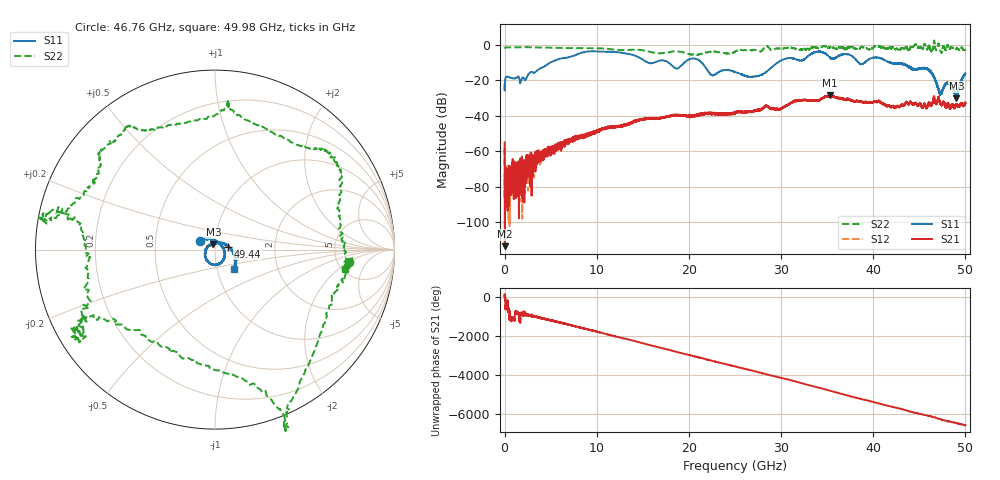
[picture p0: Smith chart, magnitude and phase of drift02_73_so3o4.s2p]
!Created with skrf (http://scikit-rf.org).
# Hz S RI R 50.0
!freq ReS11 ImS11 ReS21 ImS21 ReS12 ImS12 ReS22 ImS22
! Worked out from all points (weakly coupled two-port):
!   10001 points, 300 kHz to 50 GHz, reference 50 ohm
!   highest |S21| = -28.55 dB at 35.32 GHz (marker M1); lowest = -113.4 dB at 25.3 MHz (marker M2)
!   lowest |S11| = -30.1 dB at 49.02 GHz (marker M3), VSWR 1.06, Z = 49 + j2.94 ohm
!   |S11| at or under -10 dB: start of sweep to 4.954 GHz; 21.38 GHz to 29.63 GHz (8.25 GHz wide, 32.3 % of centre); 41.94 GHz to end of sweep (the widest 3 of 9)
!   |S22| runs from -5.7 to 2.5 dB; largest |S21 - S12| = 0.0036
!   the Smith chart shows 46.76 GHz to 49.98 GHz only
!   S11 on the Smith chart (normalised r, x): 46.76 GHz: 0.84, +0.08; 49.44 GHz: 1.15, +0.04; 49.98 GHz: 1.20, -0.27
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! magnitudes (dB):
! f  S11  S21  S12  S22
! 300 kHz  -22.3  -55.0  -58.2  -2.1
! 25.3 MHz  -23.1  -113.4  -75.4  -1.9
! 265.3 MHz  -17.9  -72.8  -70.0  -1.4
! 1.87 GHz  -19.1  -67.7  -75.4  -1.3
! 8.335 GHz  -4.5  -51.1  -51.8  -1.9
! 16.67 GHz  -9.1  -41.5  -41.3  -4.7
! 18.7 GHz  -13.4  -39.5  -39.6  -3.7
! 20.6 GHz  -7.7  -39.9  -39.7  -5.7
! 22.52 GHz  -17.0  -38.6  -38.7  -3.7
! 25 GHz  -15.3  -38.7  -38.3  -3.8
! 27.5 GHz  -17.6  -36.6  -36.7  -3.2
! 33.34 GHz  -4.9  -31.4  -31.4  -1.6
! 35.32 GHz  -7.1  -28.5  -28.7  -1.3
! 41.67 GHz  -9.7  -33.9  -34.3  -1.8
! 45.78 GHz  -13.4  -35.7  -35.6  -1.9
! 46.76 GHz  -20.1  -32.8  -33.2  -2.5
! 47.28 GHz  -27.1  -32.8  -33.3  -3.3
! 48.11 GHz  -21.3  -33.4  -33.1  -0.5
! 49.02 GHz  -30.1  -34.3  -33.7  -2.1
! 49.44 GHz  -22.7  -33.5  -33.7  -2.1
! 49.98 GHz  -16.4  -32.8  -33.0  -2.7
! 50 GHz  -16.2  -32.7  -32.6  -2.7
